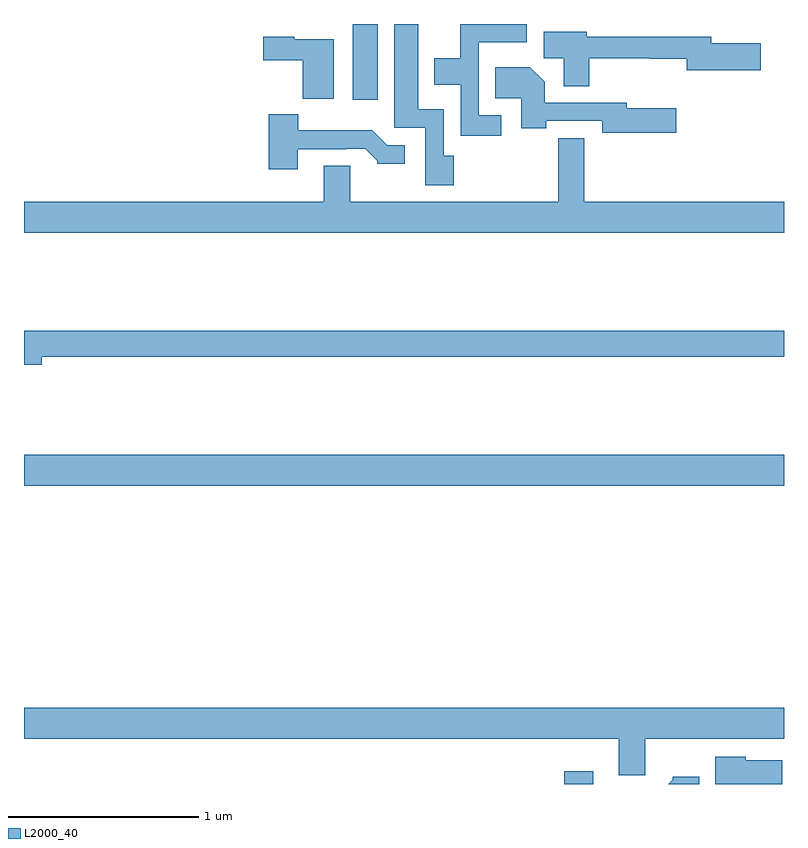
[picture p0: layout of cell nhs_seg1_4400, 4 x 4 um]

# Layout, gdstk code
import gdstk
lib = gdstk.Library(unit=1e-6, precision=1e-09)
def R(c, l, rs):  # rectangles x0, y0, x1, y1
    for r in rs: c.add(gdstk.rectangle(r[:2], r[2:], *l))
def P(c, l, *ps):  # polygons
    for p in ps: c.add(gdstk.Polygon(p, *l))
L2000_40 = (2000, 40)

nhs_seg1_4400 = lib.new_cell('nhs_seg1_4400')
R(nhs_seg1_4400, L2000_40, [(353.843,514.199,353.995,514.267), (351,515.768,355,515.932), (352.73,517.8,352.861,518.199)])
P(nhs_seg1_4400, L2000_40, [(353.261,517.506),(353.208,517.506),(353.208,517.75),(353.074,517.75),(353.074,518.199),(352.949,518.199),(352.949,517.653),(353.112,517.653),(353.112,517.35),(353.261,517.35)],
  [(353.512,517.719),(353.394,517.719),(353.394,518.102),(353.647,518.102),(353.647,518.199),(353.296,518.199),(353.296,518.02),(353.159,518.02),(353.159,517.88),(353.298,517.88),(353.298,517.611),(353.512,517.611)],
  [(353.975,518.02),(354.292,518.02),(354.292,518.017),(354.488,518.017),(354.488,517.955),(354.877,517.955),(354.877,518.097),(354.616,518.097),(354.616,518.131),(353.962,518.131),(353.962,518.158),(353.735,518.158),(353.735,518.02),(353.84,518.02),(353.84,517.871),(353.975,517.871)],
  [(352.63,518.119),(352.422,518.119),(352.422,518.131),(352.26,518.131),(352.26,518.009),(352.468,518.009),(352.468,517.805),(352.63,517.805)],
  [(354.433,517.756),(354.172,517.756),(354.172,517.785),(353.74,517.785),(353.74,517.894),(353.662,517.972),(353.479,517.972),(353.479,517.808),(353.618,517.808),(353.618,517.651),(353.748,517.651),(353.748,517.689),(354.044,517.689),(354.044,517.627),(354.433,517.627)],
  [(352.441,517.539),(352.697,517.539),(352.697,517.542),(352.796,517.542),(352.86,517.478),(352.86,517.463),(353.005,517.463),(353.005,517.56),(352.911,517.56),(352.833,517.639),(352.444,517.639),(352.444,517.723),(352.289,517.723),(352.289,517.434),(352.441,517.434)],
  [(355,517.264),(353.948,517.264),(353.948,517.597),(353.812,517.597),(353.812,517.264),(352.717,517.264),(352.717,517.454),(352.577,517.454),(352.577,517.264),(351,517.264),(351,517.1),(355,517.1)],
  [(351.094,516.448),(355,516.448),(355,516.584),(351,516.584),(351,516.406),(351.094,516.406)],
  [(354.271,514.436),(355,514.436),(355,514.6),(351,514.6),(351,514.436),(354.131,514.436),(354.131,514.246),(354.271,514.246)],
  [(354.991,514.324),(354.798,514.324),(354.798,514.342),(354.638,514.342),(354.638,514.199),(354.991,514.199)],
  [(354.553,514.237),(354.414,514.237),(354.414,514.222),(354.391,514.199),(354.553,514.199)])

lib.write_gds('nhs_seg1_4400.gds')
